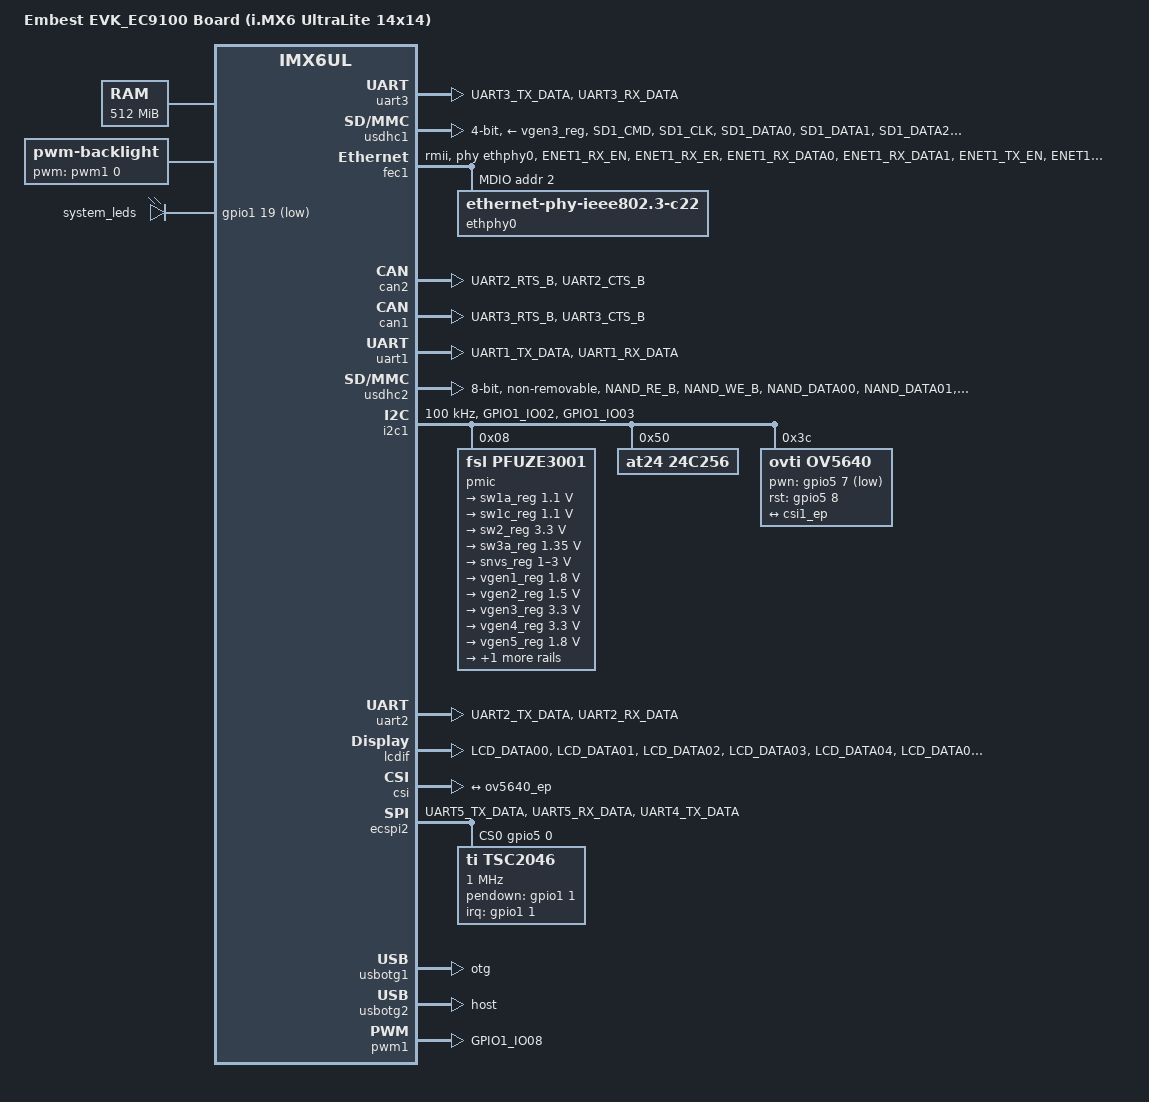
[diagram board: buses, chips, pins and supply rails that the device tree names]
/*
 * Copyright (C) 2015 Freescale Semiconductor, Inc.
 *
 * This program is free software; you can redistribute it and/or modify
 * it under the terms of the GNU General Public License version 2 as
 * published by the Free Software Foundation.
 */

/dts-v1/;

#include <dt-bindings/input/input.h>
#include <dt-bindings/gpio/gpio.h>
#include "imx6ul.dtsi"

/ {
	model = "Embest EVK_EC9100 Board (i.MX6 UltraLite 14x14) ";
	compatible = "fsl,embest_evk_ec9100", "fsl,imx6ul";

	memory {
		reg = <0x80000000 0x20000000>;
	};
	
	chosen {
            /* UART3 == ttymxc2 */
            stdout-path = "serial2:115200n8";
        };

	regulators {
		compatible = "simple-bus";
		#address-cells = <1>;
		#size-cells = <0>;
	};

	backlight {
		compatible = "pwm-backlight";
		pwms = <&pwm1 0 5000000>;
		brightness-levels = <0 4 8 16 32 64 128 255>;
		default-brightness-level = <6>;
		status = "okay";
	};

	leds {
		compatible = "gpio-leds";

		led1 {
			label = "system_leds";
			gpios = <&gpio1 19 1>;
			linux,default-trigger = "heartbeat";
		};
	};
};

&cpu0 {
	arm-supply = <&reg_arm>;
	soc-supply = <&reg_soc>;
};

&clks {
	assigned-clocks = <&clks IMX6UL_CLK_PLL4_AUDIO_DIV>;
	assigned-clock-rates = <786432000>;
};

&uart3 {
	pinctrl-names = "default";
	pinctrl-0 = <&pinctrl_uart3>;
	status = "okay";
};

/* &usdhc1 {
 *	pinctrl-names = "default";
 *	pinctrl-0 = <&pinctrl_usdhc1>;
 *	cd-gpios = <&gpio5 1 0>;
 *	keep-power-in-suspend;
 *	enable-sdio-wakeup;
 *	status = "okay";
 * }; 
 */

&usdhc1 {
    pinctrl-names = "default";
    pinctrl-0 = <&pinctrl_usdhc1>;

    /* SD card slot on USDHC1 (4-bit, 3.3V), CD is active-low on GPIO5_1 */
    bus-width = <4>;
    cd-gpios = <&gpio5 1 GPIO_ACTIVE_LOW>;
    disable-wp;            /* if WP pin isn’t wired */
    no-1-8-v;              /* slot is 3.3V only, no 1.8V signaling */

    /* Optional but nice: tie VMMC to the 3.3V reg you already have */
    vmmc-supply = <&vgen3_reg>;

    keep-power-in-suspend;
    status = "okay";
};

&fec1 {
	pinctrl-names = "default";
	pinctrl-0 = <&pinctrl_enet1>;
	phy-mode = "rmii";
	phy-handle = <&ethphy0>;
	status = "okay";
	
	mdio {
		#address-cells = <1>;
		#size-cells = <0>;

		ethphy0: ethernet-phy@2 {
			compatible = "ethernet-phy-ieee802.3-c22";
			reg = <2>;
		};
	};
};

&can2 {
	pinctrl-names = "default";
	pinctrl-0 = <&pinctrl_flexcan2>;
	status = "okay";
};

&can1 {
	pinctrl-names = "default";
	pinctrl-0 = <&pinctrl_flexcan1>;
	status = "okay";
};

&uart1 {
	pinctrl-names = "default";
	pinctrl-0 = <&pinctrl_uart1>;
	fsl,uart-has-rtscts;
	cts-gpio = <&gpio1 18 0>;
	status = "okay";
};

&usdhc2 {
	pinctrl-names = "default";
	pinctrl-0 = <&pinctrl_usdhc2>;
	no-1-8-v;
	non-removable;
	keep-power-in-suspend;
	enable-sdio-wakeup;
	bus-width = <8>;
	status = "okay";
};

&i2c1 {
	clock-frequency = <100000>;
	pinctrl-names = "default";
	pinctrl-0 = <&pinctrl_i2c1>;
	status = "okay";	

	pmic: pfuze3000@8 {
		compatible = "fsl,pfuze3001";
		reg = <0x08>;

		regulators {
			sw1a_reg: sw1a {
				regulator-min-microvolt = <1100000>;
				regulator-max-microvolt = <1100000>;
				regulator-boot-on;
				regulator-always-on;
				regulator-ramp-delay = <6250>;
			};

			/* use sw1c_reg to align with pfuze100/pfuze200 */
			sw1c_reg: sw1b {
				regulator-min-microvolt = <1100000>;
				regulator-max-microvolt = <1100000>;
				regulator-boot-on;
				regulator-always-on;
				regulator-ramp-delay = <6250>;
			};

			sw2_reg: sw2 {
				regulator-min-microvolt = <3300000>;
				regulator-max-microvolt = <3300000>;
				regulator-boot-on;
				regulator-always-on;
			};

			sw3a_reg: sw3 {
				regulator-min-microvolt = <1350000>;
				regulator-max-microvolt = <1350000>;
				regulator-boot-on;
				regulator-always-on;
			};

			snvs_reg: vsnvs {
				regulator-min-microvolt = <1000000>;
				regulator-max-microvolt = <3000000>;
				regulator-boot-on;
				regulator-always-on;
			};

			vref_reg: vrefddr {
				regulator-boot-on;
				regulator-always-on;
			};

			vgen1_reg: vldo1 {
				regulator-min-microvolt = <1800000>;
				regulator-max-microvolt = <1800000>;
				regulator-always-on;
			};

			vgen2_reg: vldo2 {
				regulator-min-microvolt = <1500000>;
				regulator-max-microvolt = <1500000>;
				regulator-always-on;
			};

			vgen3_reg: vccsd {
				regulator-min-microvolt = <3300000>;
				regulator-max-microvolt = <3300000>;
				regulator-always-on;
			};

			vgen4_reg: v33 {
				regulator-min-microvolt = <3300000>;
				regulator-max-microvolt = <3300000>;
				regulator-always-on;
			};

			vgen5_reg: vldo3 {
				regulator-min-microvolt = <1800000>;
				regulator-max-microvolt = <1800000>;
				regulator-always-on;
			};

			vgen6_reg: vldo4 {
				regulator-min-microvolt = <3300000>;
				regulator-max-microvolt = <3300000>;
				regulator-always-on;
			};
		};
	};

	at24@50 {
		compatible = "at24,24c256";
		pagesize = <64>;
		reg = <0x50>;
	};
	
	ov5640: ov5640@3c {
		compatible = "ovti,ov5640";
		reg = <0x3c>;
		pinctrl-names = "default";
		pinctrl-0 = <&pinctrl_csi1>;
		clocks = <&clks IMX6UL_CLK_CSI>;
		clock-names = "csi_mclk";
		pwn-gpios = <&gpio5 7 1>;
		rst-gpios = <&gpio5 8 0>;
		csi_id = <0>;
		mclk = <24000000>;
		mclk_source = <0>;
		status = "okay";
		port {
			ov5640_ep: endpoint {
				remote-endpoint = <&csi1_ep>;
			};
		};
	};		
	
};

&uart2 {
	pinctrl-names = "default";
	pinctrl-0 = <&pinctrl_uart2>;
	status = "okay";
};

&lcdif {
	pinctrl-names = "default";
	pinctrl-0 = <&pinctrl_lcdif_dat
				&pinctrl_lcdif_ctrl>;
	display = <&display0>;
	status = "okay";

	display0: display {
		bits-per-pixel = <16>;
		bus-width = <24>;

		display-timings {
			native-mode = <&timing0>;
			timing0: timing0 {
				clock-frequency = <36000000>;
				hactive = <480>;
				vactive = <272>;
				hfront-porch = <1>;
				hback-porch = <1>;
				hsync-len = <48>;
				vfront-porch = <12>;
				vback-porch = <25>;
				vsync-len = <5>;
				hsync-active = <0>;
				vsync-active = <0>;
				de-active = <1>;
				pixelclk-active = <1>;
			};
		};
	};
	

};
&csi {
	status = "okay";

	port {
		csi1_ep: endpoint {
			remote-endpoint = <&ov5640_ep>;
		};
	};
};

&ecspi2 {
	fsl,spi-num-chipselects = <1>;
	pinctrl-names = "default";
	pinctrl-0 = <&pinctrl_ecspi2_1>;
	cs-gpios = <&gpio5 0 0>;
	status = "okay";

	tsc2046 {
		compatible = "ti,tsc2046";
		reg = <0>;
		spi-max-frequency = <1000000>;
		pinctrl-names ="default";
		pinctrl-0 = <&pinctrl_tsc2046_pendown>;
		interrupt-parent = <&gpio1>;
		interrupts = <1 0>;
		pendown-gpio = <&gpio1 1 0>;
		ti,x-min = /bits/ 16 <0>;
		ti,x-max = /bits/ 16 <0>;
		ti,y-min = /bits/ 16 <0>;
		ti,y-max = /bits/ 16 <0>;
		ti,pressure-max = /bits/ 16 <0>;
		ti,x-plat-ohms = /bits/ 16 <400>;
		linux,wakeup;
	};
};

&usbotg1 {
	dr_mode = "otg";
	disable-over-current;
	srp-disable;
	hnp-disable;
	adp-disable;
	status = "okay";
};


&usbotg2 {
	dr_mode = "host";
	disable-over-current;
	status = "okay";
};

&pwm1 {
	pinctrl-names = "default";
	pinctrl-0 = <&pinctrl_pwm1>;
	status = "okay";
};

&iomuxc {
	pinctrl-names = "default";
	pinctrl-0 = <&pinctrl_hog_1>;
	imx6ul-evk {
		pinctrl_hog_1: hoggrp-1 {
			fsl,pins = <
				MX6UL_PAD_LCD_RESET__WDOG1_WDOG_ANY 0x30b0	/*reset gpio*/
				MX6UL_PAD_SNVS_TAMPER1__GPIO5_IO01  0x17059 /* SD1 CD */
				MX6UL_PAD_SNVS_TAMPER0__GPIO5_IO00  0x80000000 /*cs-gpio*/
				MX6UL_PAD_SNVS_TAMPER4__GPIO5_IO04  0x17059 /* GPIO EX */

				MX6UL_PAD_GPIO1_IO09__GPIO1_IO09  0x17059 /* GPIO/PWM2*/
				MX6UL_PAD_GPIO1_IO04__GPIO1_IO04  0x17059 /* GPIO/ADC1*/
				MX6UL_PAD_GPIO1_IO05__GPIO1_IO05  0x17059 /* GPIO/ADC2 */
				MX6UL_PAD_UART1_RTS_B__GPIO1_IO19	0x80000000 /* LED */
				
				MX6UL_PAD_UART1_CTS_B__GPIO1_IO18    	0x80000000
			>;
		};
		
		pinctrl_csi1: csi1grp {
			fsl,pins = <
				MX6UL_PAD_CSI_MCLK__CSI_MCLK		0x1b088
				MX6UL_PAD_CSI_PIXCLK__CSI_PIXCLK	0x1b088
				MX6UL_PAD_CSI_VSYNC__CSI_VSYNC		0x1b088
				MX6UL_PAD_CSI_HSYNC__CSI_HSYNC		0x1b088
				MX6UL_PAD_CSI_DATA00__CSI_DATA02	0x1b088
				MX6UL_PAD_CSI_DATA01__CSI_DATA03	0x1b088
				MX6UL_PAD_CSI_DATA02__CSI_DATA04	0x1b088
				MX6UL_PAD_CSI_DATA03__CSI_DATA05	0x1b088
				MX6UL_PAD_CSI_DATA04__CSI_DATA06	0x1b088
				MX6UL_PAD_CSI_DATA05__CSI_DATA07	0x1b088
				MX6UL_PAD_CSI_DATA06__CSI_DATA08	0x1b088
				MX6UL_PAD_CSI_DATA07__CSI_DATA09	0x1b088
			>;
		};
		
		pinctrl_uart3: uart3grp {
			fsl,pins = <
				MX6UL_PAD_UART3_TX_DATA__UART3_DCE_TX  0x1b0b1
				MX6UL_PAD_UART3_RX_DATA__UART3_DCE_RX  0x1b0b1
			>;
		};		

		pinctrl_usdhc1: usdhc1grp {
			fsl,pins = <
				MX6UL_PAD_SD1_CMD__USDHC1_CMD     0x17059
				MX6UL_PAD_SD1_CLK__USDHC1_CLK     0x10071
				MX6UL_PAD_SD1_DATA0__USDHC1_DATA0 0x17059
				MX6UL_PAD_SD1_DATA1__USDHC1_DATA1 0x17059
				MX6UL_PAD_SD1_DATA2__USDHC1_DATA2 0x17059
				MX6UL_PAD_SD1_DATA3__USDHC1_DATA3 0x17059
			>;
		};

		pinctrl_usdhc1_100mhz: usdhc1grp100mhz {
			fsl,pins = <
				MX6UL_PAD_SD1_CMD__USDHC1_CMD     0x170b9
				MX6UL_PAD_SD1_CLK__USDHC1_CLK     0x100b9
				MX6UL_PAD_SD1_DATA0__USDHC1_DATA0 0x170b9
				MX6UL_PAD_SD1_DATA1__USDHC1_DATA1 0x170b9
				MX6UL_PAD_SD1_DATA2__USDHC1_DATA2 0x170b9
				MX6UL_PAD_SD1_DATA3__USDHC1_DATA3 0x170b9
			>;
		};

		pinctrl_usdhc1_200mhz: usdhc1grp200mhz {
			fsl,pins = <
				MX6UL_PAD_SD1_CMD__USDHC1_CMD     0x170f9
				MX6UL_PAD_SD1_CLK__USDHC1_CLK     0x100f9
				MX6UL_PAD_SD1_DATA0__USDHC1_DATA0 0x170f9
				MX6UL_PAD_SD1_DATA1__USDHC1_DATA1 0x170f9
				MX6UL_PAD_SD1_DATA2__USDHC1_DATA2 0x170f9
				MX6UL_PAD_SD1_DATA3__USDHC1_DATA3 0x170f9
			>;
		};

		pinctrl_enet1: enet1grp {
			fsl,pins = <
				MX6UL_PAD_ENET1_RX_EN__ENET1_RX_EN	0x1b0b0
				MX6UL_PAD_ENET1_RX_ER__ENET1_RX_ER	0x1b0b0
				MX6UL_PAD_ENET1_RX_DATA0__ENET1_RDATA00	0x1b0b0
				MX6UL_PAD_ENET1_RX_DATA1__ENET1_RDATA01	0x1b0b0
				MX6UL_PAD_ENET1_TX_EN__ENET1_TX_EN	0x1b0b0
				MX6UL_PAD_ENET1_TX_DATA0__ENET1_TDATA00	0x1b0b0
				MX6UL_PAD_ENET1_TX_DATA1__ENET1_TDATA01	0x1b0b0
				MX6UL_PAD_ENET1_TX_CLK__ENET1_REF_CLK1	0x4001b031
			>;
		};

		pinctrl_flexcan2: flexcan2grp{
			fsl,pins = <
				MX6UL_PAD_UART2_RTS_B__FLEXCAN2_RX	0x1b020
				MX6UL_PAD_UART2_CTS_B__FLEXCAN2_TX	0x1b020
			>;
		};

		pinctrl_flexcan1: flexcan1grp{
			fsl,pins = <
				MX6UL_PAD_UART3_RTS_B__FLEXCAN1_RX	0x1b020
				MX6UL_PAD_UART3_CTS_B__FLEXCAN1_TX	0x1b020
			>;
		};

		pinctrl_uart1: uart1grp {
			fsl,pins = <
				MX6UL_PAD_UART1_TX_DATA__UART1_DCE_TX	0x1b0b1
				MX6UL_PAD_UART1_RX_DATA__UART1_DCE_RX	0x1b0b1
			/*	MX6UL_PAD_UART1_CTS_B__UART1_DCE_CTS	0x1b0b1*/
			>;
		};

		pinctrl_usdhc2: usdhc2grp {
			fsl,pins = <
				MX6UL_PAD_NAND_RE_B__USDHC2_CLK     0x10069
				MX6UL_PAD_NAND_WE_B__USDHC2_CMD     0x17059
				MX6UL_PAD_NAND_DATA00__USDHC2_DATA0 0x17059
				MX6UL_PAD_NAND_DATA01__USDHC2_DATA1 0x17059
				MX6UL_PAD_NAND_DATA02__USDHC2_DATA2 0x17059
				MX6UL_PAD_NAND_DATA03__USDHC2_DATA3 0x17059
				MX6UL_PAD_NAND_DATA04__USDHC2_DATA4 0x17059
				MX6UL_PAD_NAND_DATA05__USDHC2_DATA5 0x17059
				MX6UL_PAD_NAND_DATA06__USDHC2_DATA6 0x17059
				MX6UL_PAD_NAND_DATA07__USDHC2_DATA7 0x17059
			>;
		};

		pinctrl_i2c1: i2c1grp {
			fsl,pins = <
				MX6UL_PAD_GPIO1_IO02__I2C1_SCL       0x4001b8b0
				MX6UL_PAD_GPIO1_IO03__I2C1_SDA       0x4001b8b0
			>;
		};

		pinctrl_uart2: uart2grp {
			fsl,pins = <
				MX6UL_PAD_UART2_TX_DATA__UART2_DCE_TX	0x1b0b1
				MX6UL_PAD_UART2_RX_DATA__UART2_DCE_RX	0x1b0b1
			>;
		};

		pinctrl_lcdif_dat: lcdifdatgrp {
			fsl,pins = <
				MX6UL_PAD_LCD_DATA00__LCDIF_DATA00  0x79
				MX6UL_PAD_LCD_DATA01__LCDIF_DATA01  0x79
				MX6UL_PAD_LCD_DATA02__LCDIF_DATA02  0x79
				MX6UL_PAD_LCD_DATA03__LCDIF_DATA03  0x79
				MX6UL_PAD_LCD_DATA04__LCDIF_DATA04  0x79
				MX6UL_PAD_LCD_DATA05__LCDIF_DATA05  0x79
				MX6UL_PAD_LCD_DATA06__LCDIF_DATA06  0x79
				MX6UL_PAD_LCD_DATA07__LCDIF_DATA07  0x79
				MX6UL_PAD_LCD_DATA08__LCDIF_DATA08  0x79
				MX6UL_PAD_LCD_DATA09__LCDIF_DATA09  0x79
				MX6UL_PAD_LCD_DATA10__LCDIF_DATA10  0x79
				MX6UL_PAD_LCD_DATA11__LCDIF_DATA11  0x79
				MX6UL_PAD_LCD_DATA12__LCDIF_DATA12  0x79
				MX6UL_PAD_LCD_DATA13__LCDIF_DATA13  0x79
				MX6UL_PAD_LCD_DATA14__LCDIF_DATA14  0x79
				MX6UL_PAD_LCD_DATA15__LCDIF_DATA15  0x79
				MX6UL_PAD_LCD_DATA16__LCDIF_DATA16  0x79
				MX6UL_PAD_LCD_DATA17__LCDIF_DATA17  0x79
				MX6UL_PAD_LCD_DATA18__LCDIF_DATA18  0x79
				MX6UL_PAD_LCD_DATA19__LCDIF_DATA19  0x79
				MX6UL_PAD_LCD_DATA20__LCDIF_DATA20  0x79
				MX6UL_PAD_LCD_DATA21__LCDIF_DATA21  0x79
				MX6UL_PAD_LCD_DATA22__LCDIF_DATA22  0x79
				MX6UL_PAD_LCD_DATA23__LCDIF_DATA23  0x79
			>;
		};

		pinctrl_lcdif_ctrl: lcdifctrlgrp {
			fsl,pins = <
				MX6UL_PAD_LCD_CLK__LCDIF_CLK	    0x79
				MX6UL_PAD_LCD_ENABLE__LCDIF_ENABLE  0x79
				MX6UL_PAD_LCD_HSYNC__LCDIF_HSYNC    0x79
				MX6UL_PAD_LCD_VSYNC__LCDIF_VSYNC    0x79
			>;
		};

		pinctrl_ecspi2_1: ecspi2grp-1 {
			fsl,pins = <
					MX6UL_PAD_UART5_TX_DATA__ECSPI2_MOSI    0x0b0b0 /* CSPI_MOSI */
					MX6UL_PAD_UART5_RX_DATA__ECSPI2_MISO    0x0b0b0 /* CSPI_MISO */
					MX6UL_PAD_UART4_TX_DATA__ECSPI2_SCLK    0x0b0b0 /* CSPI_SCLK */
			>;
		};


		pinctrl_tsc2046_pendown: tsc2046_pendown {
			fsl,pins = <
					MX6UL_PAD_GPIO1_IO01__GPIO1_IO01      0xb0
			>;
		};

		pinctrl_pwm1: pwm1grp {
			fsl,pins = <
					MX6UL_PAD_GPIO1_IO08__PWM1_OUT   0x110b0
			>;
        	};
	};
};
